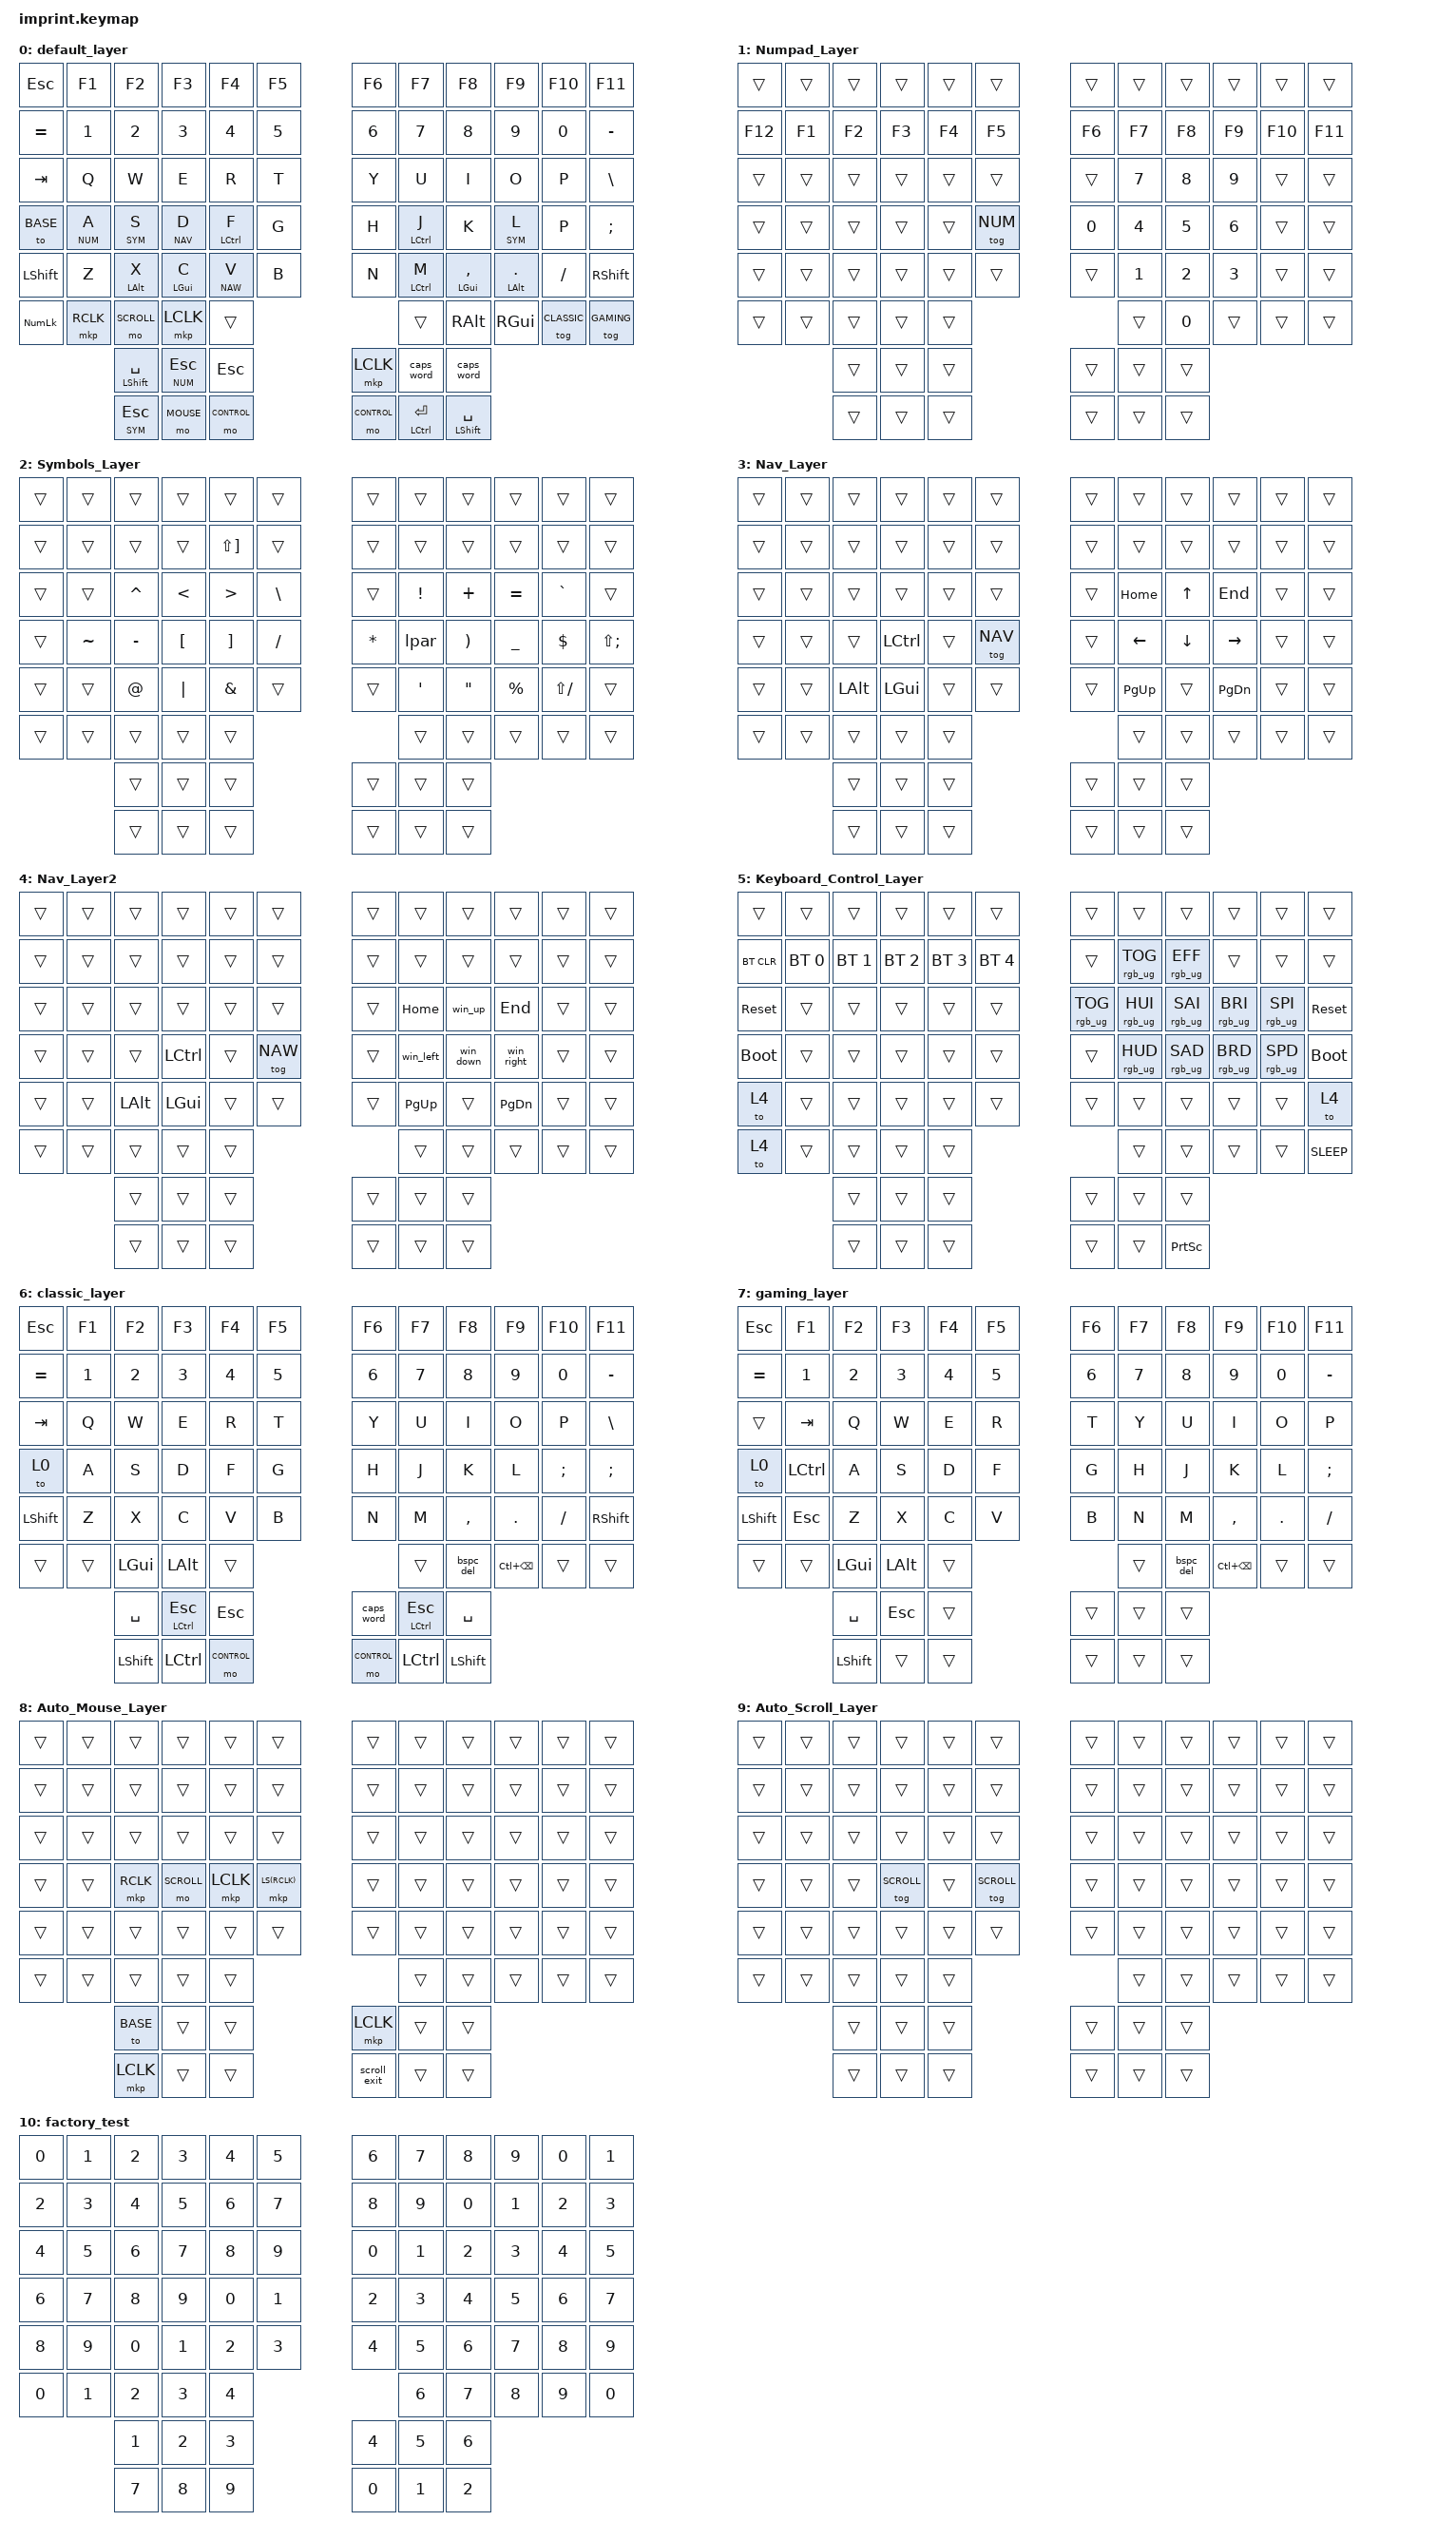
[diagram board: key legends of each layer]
#include <input/processors.dtsi>
#include <dt-bindings/zmk/input_transform.h>
#include <behaviors.dtsi>
#include <dt-bindings/zmk/bt.h>
#include <dt-bindings/zmk/keys.h>
#include <dt-bindings/zmk/pointing.h>
#include <dt-bindings/zmk/rgb.h>
#include <zephyr/dt-bindings/input/input-event-codes.h>

#define BASE 0
#define NUM 1
#define SYM 2
#define NAV 3
#define NAW 4
#define CONTROL 5
#define CLASSIC 6
#define GAMING 7
#define MOUSE 8
#define SCROLL 9


#define COMBO_TAP_TIME 30
#define COMBO_PRIOR_IDLE_TIME 120


/ {
    chosen { zmk,physical-layout = &physical_layout_imprint_function_row_full_bottom_row; };

    keymap {
        compatible = "zmk,keymap";

        default_layer {
            bindings = <
&kp ESC     &kp F1     &kp F2     &kp F3      &kp F4     &kp F5                  &kp F6     &kp F7     &kp F8         &kp F9       &kp F10       &kp F11
&kp EQUAL   &kp N1     &kp N2     &kp N3      &kp N4     &kp N5                  &kp N6     &kp N7     &kp N8         &kp N9       &kp N0        &kp MINUS
&kp TAB     &kp Q      &kp W      &kp E       &kp R      &kp T                   &kp Y      &kp U      &kp I          &kp O        &kp P         &kp BSLH
&to BASE    &lt NUM A  &lt SYM S  &lt NAV D   &mt LCTL F &kp G                   &kp H      &mt LCTL J &kp K          &lt SYM L    &kp P         &kp SEMI
&kp LSHFT   &kp Z      &mt LALT X &mt LGUI C  &lt NAW V  &kp B                   &kp N      &mt LCTL M &mt LGUI COMMA &mt LALT DOT &kp FSLH      &kp RSHFT
&kp KP_NLCK &mkp RCLK  &mo SCROLL &mkp LCLK   &trans                                        &trans     &kp RALT       &kp RGUI     &tog CLASSIC  &tog GAMING
                   &mt LSHFT SPACE  &lt NUM ESC    &kp ESC                 &mkp LCLK    &caps_word       &caps_word
                   &lth SYM ESC     &mo MOUSE      &mo CONTROL             &mo CONTROL  &mt LCTRL RET    &mt LSHFT SPACE
            >;
        };

        Numpad_Layer {
            bindings = <
&trans   &trans  &trans     &trans    &trans   &trans            &trans    &trans  &trans  &trans  &trans  &trans
&kp F12  &kp F1  &kp F2     &kp F3    &kp F4   &kp F5            &kp F6    &kp F7  &kp F8  &kp F9  &kp F10 &kp F11 
&trans   &trans  &trans     &trans    &trans   &trans            &trans    &kp N7  &kp N8  &kp N9  &trans  &trans  
&trans   &trans  &trans     &trans    &trans   &tog NUM          &kp N0    &kp N4  &kp N5  &kp N6  &trans  &trans
&trans   &trans  &trans     &trans    &trans   &trans            &trans    &kp N1  &kp N2  &kp N3  &trans  &trans
&trans   &trans  &trans     &trans  &trans                                 &trans  &kp N0  &trans  &trans  &trans
                            &trans  &trans  &trans              &trans  &trans     &trans
                            &trans  &trans  &trans              &trans  &trans     &trans
            >;
        };

        Symbols_Layer {
            bindings = <
&trans  &trans     &trans     &trans    &trans        &trans                &trans    &trans    &trans    &trans     &trans       &trans
&trans  &trans     &trans     &trans    &kp LS(RBKT)  &trans                &trans    &trans    &trans    &trans     &trans       &trans
&trans  &trans     &kp CARET  &kp LT    &kp GT        &kp BSLH              &trans    &kp EXCL  &kp PLUS  &kp EQUAL  &kp GRAVE    &trans
&trans  &kp TILDE  &kp MINUS  &kp LBKT  &kp RBKT      &kp SLASH             &kp STAR  &lpar     &kp RPAR  &kp UNDER  &kp DOLLAR   &kp LS(SEMI)
&trans  &trans     &kp AT     &kp PIPE  &kp AMPS      &trans                &trans    &kp SQT   &kp DQT   &kp PRCNT  &kp LS(FSLH) &trans
&trans  &trans     &trans     &trans    &trans                                        &trans    &trans    &trans     &trans       &trans
                              &trans    &trans  &trans                                &trans  &trans  &trans
                              &trans    &trans  &trans                                &trans  &trans  &trans        
            >;
        };

        Nav_Layer {
            bindings = <
&trans  &trans    &trans    &trans      &trans        &trans             &trans  &trans    &trans    &trans     &trans     &trans
&trans  &trans    &trans    &trans      &trans        &trans             &trans  &trans    &trans    &trans     &trans     &trans
&trans  &trans    &trans    &trans      &trans        &trans             &trans  &kp HOME  &kp UP    &kp END    &trans     &trans
&trans  &trans    &trans    &kp LCTL    &trans        &tog NAV           &trans  &kp LEFT  &kp DOWN  &kp RIGHT  &trans     &trans
&trans  &trans    &kp LALT  &kp LGUI    &trans        &trans             &trans  &kp PG_UP &trans    &kp PG_DN  &trans     &trans
&trans  &trans    &trans    &trans  &trans                                       &trans    &trans    &trans     &trans     &trans
                                &trans  &trans  &trans                      &trans  &trans    &trans
                                &trans  &trans  &trans                      &trans  &trans    &trans
            >;
        };

        Nav_Layer2 {
            bindings = <
&trans  &trans    &trans    &trans      &trans        &trans             &trans  &trans          &trans         &trans           &trans     &trans
&trans  &trans    &trans    &trans      &trans        &trans             &trans  &trans          &trans         &trans           &trans     &trans
&trans  &trans    &trans    &trans      &trans        &trans             &trans  &kp HOME        &win_up        &kp END          &trans     &trans
&trans  &trans    &trans    &kp LCTL    &trans        &tog NAW           &trans  &win_left       &win_down      &win_right       &trans     &trans
&trans  &trans    &kp LALT  &kp LGUI    &trans        &trans             &trans  &kp PG_UP       &trans         &kp PG_DN        &trans     &trans
&trans  &trans    &trans    &trans  &trans                                       &trans          &trans         &trans           &trans     &trans
                                &trans  &trans  &trans                      &trans  &trans    &trans
                                &trans  &trans  &trans                      &trans  &trans    &trans
            >;
        };


        Keyboard_Control_Layer {
            bindings = <
&trans       &trans        &trans        &trans        &trans        &trans                  &trans           &trans           &trans           &trans           &trans           &trans
&bt BT_CLR   &bt BT_SEL 0  &bt BT_SEL 1  &bt BT_SEL 2  &bt BT_SEL 3  &bt BT_SEL 4            &trans           &rgb_ug RGB_TOG  &rgb_ug RGB_EFF  &trans           &trans           &trans
&sys_reset   &trans        &trans        &trans        &trans        &trans                  &rgb_ug RGB_TOG  &rgb_ug RGB_HUI  &rgb_ug RGB_SAI  &rgb_ug RGB_BRI  &rgb_ug RGB_SPI  &sys_reset
&bootloader  &trans        &trans        &trans        &trans        &trans                  &trans           &rgb_ug RGB_HUD  &rgb_ug RGB_SAD  &rgb_ug RGB_BRD  &rgb_ug RGB_SPD  &bootloader
&to 4        &trans        &trans        &trans        &trans        &trans                  &trans  &trans           &trans           &trans           &trans           &to 4
&to 4        &trans        &trans        &trans        &trans                                        &trans           &trans           &trans           &trans           &kp K_SLEEP
                                                       &trans        &trans        &trans    &trans  &trans           &trans
                                                       &trans        &trans        &trans    &trans  &trans           &kp PRINTSCREEN
            >;
        };

        classic_layer {
            bindings = <
&kp ESC    &kp F1        &kp F2    &kp F3       &kp F4     &kp F5                  &kp F6     &kp F7    &kp F8     &kp F9    &kp F10         &kp F11
&kp EQUAL  &kp N1        &kp N2    &kp N3       &kp N4     &kp N5                  &kp N6     &kp N7    &kp N8     &kp N9    &kp N0          &kp MINUS
&kp TAB    &kp Q         &kp W     &kp E        &kp R      &kp T                   &kp Y      &kp U     &kp I      &kp O     &kp P           &kp BSLH
&to 0      &kp A         &kp S     &kp D        &kp F      &kp G                   &kp H      &kp J     &kp K      &kp L     &kp SEMI        &kp SEMI
&kp LSHFT  &kp Z         &kp X     &kp C        &kp V      &kp B                   &kp N      &kp M     &kp COMMA  &kp DOT   &kp FSLH        &kp RSHFT
&trans     &trans        &kp LGUI  &kp LALT  &trans                                           &trans    &bspc_del  &kp LC(BSPC)   &trans    &trans
                   &kp SPACE   &mt LCTRL ESC  &kp ESC                &caps_word   &mt LCTRL ESC  &kp SPACE
                   &kp LSHIFT  &kp LCTRL      &mo CONTROL            &mo CONTROL  &kp LCTRL      &kp LSHIFT 
            >;
        };

        gaming_layer {
            bindings = <
&kp ESC    &kp F1        &kp F2    &kp F3       &kp F4     &kp F5                  &kp F6     &kp F7    &kp F8     &kp F9     &kp F10        &kp F11
&kp EQUAL  &kp N1        &kp N2    &kp N3       &kp N4     &kp N5                  &kp N6     &kp N7    &kp N8     &kp N9     &kp N0         &kp MINUS
&trans     &kp TAB       &kp Q     &kp W        &kp E      &kp R                   &kp T      &kp Y     &kp U      &kp I      &kp O          &kp P
&to 0      &kp LCTRL     &kp A     &kp S        &kp D      &kp F                   &kp G      &kp H      &kp J     &kp K      &kp L          &kp SEMI        
&kp LSHFT  &kp ESC       &kp Z     &kp X        &kp C      &kp V                   &kp B      &kp N      &kp M     &kp COMMA  &kp DOT        &kp FSLH  
&trans     &trans        &kp LGUI  &kp LALT  &trans                                           &trans    &bspc_del  &kp LC(BSPC)   &trans    &trans
                                      &kp SPACE   &kp ESC  &trans                       &trans  &trans  &trans
                                      &kp LSHIFT  &trans   &trans                       &trans  &trans  &trans
            >;
        };
        
        Auto_Mouse_Layer {
            bindings = <
&trans  &trans  &trans     &trans       &trans     &trans            &trans  &trans  &trans  &trans  &trans  &trans
&trans  &trans  &trans     &trans       &trans     &trans            &trans  &trans  &trans  &trans  &trans  &trans
&trans  &trans  &trans     &trans       &trans     &trans            &trans  &trans  &trans  &trans  &trans  &trans
&trans  &trans  &mkp RCLK  &mo SCROLL   &mkp LCLK  &mkp LS(RCLK)     &trans  &trans  &trans  &trans  &trans  &trans
&trans  &trans  &trans     &trans       &trans     &trans            &trans  &trans  &trans  &trans  &trans  &trans
&trans  &trans  &trans     &trans       &trans                               &trans  &trans  &trans  &trans  &trans
                                        &to BASE  &trans  &trans    &mkp LCLK    &trans  &trans
                                        &mkp LCLK &trans  &trans    &scroll_exit &trans  &trans
            >;
        };

        Auto_Scroll_Layer {
            bindings = <
&trans  &trans  &trans     &trans     &trans     &trans            &trans  &trans  &trans  &trans  &trans  &trans
&trans  &trans  &trans     &trans     &trans     &trans            &trans  &trans  &trans  &trans  &trans  &trans
&trans  &trans  &trans     &trans     &trans     &trans            &trans  &trans  &trans  &trans  &trans  &trans
&trans  &trans  &trans     &tog SCROLL &trans    &tog SCROLL            &trans  &trans  &trans  &trans  &trans  &trans
&trans  &trans  &trans     &trans     &trans     &trans            &trans  &trans  &trans  &trans  &trans  &trans
&trans  &trans  &trans     &trans     &trans                               &trans  &trans  &trans  &trans  &trans
                                      &trans     &trans  &trans    &trans  &trans  &trans
                                      &trans     &trans  &trans    &trans  &trans  &trans
            >;
        };

        factory_test {
            bindings = <
&kp N0  &kp N1  &kp N2  &kp N3  &kp N4  &kp N5            &kp N6  &kp N7  &kp N8  &kp N9  &kp N0  &kp N1
&kp N2  &kp N3  &kp N4  &kp N5  &kp N6  &kp N7            &kp N8  &kp N9  &kp N0  &kp N1  &kp N2  &kp N3
&kp N4  &kp N5  &kp N6  &kp N7  &kp N8  &kp N9            &kp N0  &kp N1  &kp N2  &kp N3  &kp N4  &kp N5
&kp N6  &kp N7  &kp N8  &kp N9  &kp N0  &kp N1            &kp N2  &kp N3  &kp N4  &kp N5  &kp N6  &kp N7
&kp N8  &kp N9  &kp N0  &kp N1  &kp N2  &kp N3            &kp N4  &kp N5  &kp N6  &kp N7  &kp N8  &kp N9
&kp N0  &kp N1  &kp N2  &kp N3  &kp N4                            &kp N6  &kp N7  &kp N8  &kp N9  &kp N0
                                &kp N1  &kp N2  &kp N3    &kp N4  &kp N5  &kp N6
                                &kp N7  &kp N8  &kp N9    &kp N0  &kp N1  &kp N2
            >;
        };
    };
};

/ {
    behaviors {
        bspc_del: backspace_delete {
            compatible = "zmk,behavior-mod-morph";
            #binding-cells = <0>;
            bindings = <&kp BSPC>, <&kp DELETE>;
            mods = <(MOD_LSFT|MOD_RSFT)>;
        };

        bspc_k: backspace_k {
            compatible = "zmk,behavior-mod-morph";
            #binding-cells = <0>;
            bindings = <&mt LCTL K>, <&bspc_del>;
            mods = <(MOD_LCTL|MOD_RCTL)>;
        };

        bspc_l: backspace_l {
            compatible = "zmk,behavior-mod-morph";
            #binding-cells = <0>;
            bindings = <&lt SYM L>, <&kp LC(BSPC)>;
            mods = <(MOD_LCTL|MOD_RCTL)>;
        };

        tab_i: tab_i {
            compatible = "zmk,behavior-mod-morph";
            #binding-cells = <0>;
            bindings = <&kp I>, <&kp TAB>;
            mods = <(MOD_LCTL|MOD_RCTL)>;
        };

        ent_o: enter_o {
            compatible = "zmk,behavior-mod-morph";
            #binding-cells = <0>;
            bindings = <&kp O>, <&kp RET>;
            mods = <(MOD_LCTL|MOD_RCTL)>;
        };
            
        lt: layer_tap {
            compatible = "zmk,behavior-hold-tap";
            #binding-cells = <2>;
            flavor = "balanced";
            tapping-term-ms = <200>;
            bindings = <&mo>, <&kp>;
            display-name = "Mod-Tap";
            require-prior-idle-ms = <80>;
        };

        lth: layer_tap_hold_prefered {
            compatible = "zmk,behavior-hold-tap";
            #binding-cells = <2>;
            flavor = "hold-preferred";
            tapping-term-ms = <200>;
            bindings = <&mo>, <&kp>;
            display-name = "Mod-Tap";
        };

        llt: lefthand_layer_tap {
            compatible = "zmk,behavior-hold-tap";
            #binding-cells = <2>;
            flavor = "hold-preferred";
            tapping-term-ms = <200>;
            bindings = <&mo>, <&kp>;
            display-name = "Mod-Tap";
            require-prior-idle-ms = <150>;
            hold-trigger-key-positions = <31 32 33 43 44 45 55 56 57 66>; 
        };

        mt: mod_tap {
            compatible = "zmk,behavior-hold-tap";
            #binding-cells = <2>;
            flavor = "balanced";
            tapping-term-ms = <200>;
            bindings = <&kp>, <&kp>;
            display-name = "Mod-Tap";
            require-prior-idle-ms = <80>;
        };
        
        ltt: layer_tap_toggle {
            compatible = "zmk,behavior-hold-tap";
            //label = "LAYER_TAP_TOGGLE";
            #binding-cells = <2>;
            bindings = <&mo>, <&tog>;
            tapping-term-ms = <200>;
        };

        rl: retro_layer {
            compatible = "zmk,behavior-hold-tap";
            flavor = "tap-preferred";
            retro-tap;
            #binding-cells = <2>;
            bindings = <&mo>, <&kp>;
            tapping-term-ms = <200>;
        };
        
        tog_off: toggle_layer_off_only {
            compatible = "zmk,behavior-toggle-layer";
            #binding-cells = <1>;
            display-name = "Toggle Layer Off";
            toggle-mode = "off";
        };
    };

    combos {
        compatible = "zmk,combos";
        combo_tab {
            timeout-ms = <COMBO_TAP_TIME>;
            require-prior-idle-ms = <COMBO_PRIOR_IDLE_TIME>;
            key-positions = <43 44>;
            bindings = <&kp TAB>;
        };
        combo_enter {
            timeout-ms = <COMBO_TAP_TIME>;
            require-prior-idle-ms = <COMBO_PRIOR_IDLE_TIME>;
            key-positions = <44 45>;
            bindings = <&kp RET>;
            layers = <BASE>;
        };
        combo_sym_enter {
            timeout-ms = <COMBO_TAP_TIME>;
            require-prior-idle-ms = <COMBO_PRIOR_IDLE_TIME>;
            key-positions = <44 45>;
            bindings = <&kp LS(RET)>;
            layers = <SYM>;
        };
        combo_num_enter {
            timeout-ms = <COMBO_TAP_TIME>;
            require-prior-idle-ms = <COMBO_PRIOR_IDLE_TIME>;
            key-positions = <44 45>;
            bindings = <&exit_num>;
            layers = <NUM>;
        };
       combo_ctrl_back {
            timeout-ms = <COMBO_TAP_TIME>;
            require-prior-idle-ms = <COMBO_PRIOR_IDLE_TIME>;
            require-prior-idle-ms = <COMBO_PRIOR_IDLE_TIME>;
            key-positions = <32 33>;
            bindings = <&kp LC(BSPC)>;
        }; 
        combo_back {
            timeout-ms = <COMBO_TAP_TIME>;
            require-prior-idle-ms = <COMBO_PRIOR_IDLE_TIME>;
            require-prior-idle-ms = <COMBO_PRIOR_IDLE_TIME>;
            key-positions = <31 32>;
            bindings = <&bspc_del>;
        };
        combo_undo {
            timeout-ms = <COMBO_TAP_TIME>;
            require-prior-idle-ms = <COMBO_PRIOR_IDLE_TIME>;
            key-positions = <26 27>;
            bindings = <&kp LC(Z)>;
        };
        combo_redo {
            timeout-ms = <COMBO_TAP_TIME>;
            require-prior-idle-ms = <COMBO_PRIOR_IDLE_TIME>;
            key-positions = <27 28>;
            bindings = <&kp LC(Y)>;
        };
        //combo_save {
            //timeout-ms = <COMBO_TAP_TIME>;
            //require-prior-idle-ms = <COMBO_PRIOR_IDLE_TIME>;
            //key-positions = <26 28>;
            //bindings = <&kp LC(S)>;
        //};
        combo_num_layer {
            timeout-ms = <COMBO_TAP_TIME>;
            require-prior-idle-ms = <COMBO_PRIOR_IDLE_TIME>;
            key-positions = <56 57>;
            bindings = <&to NUM>;
            layers = <BASE NUM>;
        };
        //combo_nav_layer {
            //timeout-ms = <COMBO_TAP_TIME>;
            //require-prior-idle-ms = <COMBO_PRIOR_IDLE_TIME>;
            //key-positions = <50 51>;
            //bindings = <&tog NAV>;
            //layers = <BASE>;
        //};
        combo_scroll_layer {
            timeout-ms = <COMBO_TAP_TIME>;
            require-prior-idle-ms = <COMBO_PRIOR_IDLE_TIME>;
            key-positions = <51 52>;
            bindings = <&tog SCROLL>;
            layers = <BASE MOUSE SCROLL>;
        };
        combo_paste {
            timeout-ms = <COMBO_TAP_TIME>;
            key-positions = <39 40>;
            bindings = <&kp LC(V)>;
        };
        combo_copy {
            timeout-ms = <COMBO_TAP_TIME>;
            key-positions = <38 39>;
            bindings = <&kp LC(C)>;
        };
        combo_cut {
            timeout-ms = <COMBO_TAP_TIME>;
            key-positions = <38 40>;
            bindings = <&kp LC(X)>;
        };
    };

    macros {
        lpar: left_par {
            compatible = "zmk,behavior-macro";
            #binding-cells = <0>;
            bindings = <&macro_tap &kp LPAR>;
        };

        exit_num: exit_num {
            compatible = "zmk,behavior-macro";
            #binding-cells = <0>;
            bindings = <&macro_tap &kp RET>
                     , <&tog NUM>;
        };
        mlc_exit: mlc_exit {
            compatible = "zmk,behavior-macro";
            #binding-cells = <0>;
            bindings = <&macro_press &mkp LCLK &tog MOUSE>
                     , <&macro_pause_for_release>
                     , <&macro_release &mkp LCLK &tog MOUSE>;
        };
        dmlc_exit: dmlc_exit {
            compatible = "zmk,behavior-macro";
            #binding-cells = <0>;
            bindings = <&macro_tap &mkp LCLK &mkp LCLK &tog MOUSE>;
        };
        mrc_exit: mrc_exit {
            compatible = "zmk,behavior-macro";
            #binding-cells = <0>;
            bindings = <&macro_press &mkp RCLK &tog MOUSE>
                     , <&macro_pause_for_release>
                     , <&macro_release &mkp RCLK &tog MOUSE>;
        };
        mmc_exit: mmc_exit {
            compatible = "zmk,behavior-macro";
            #binding-cells = <0>;
            bindings = <&macro_press &mkp MCLK &tog MOUSE>
                     , <&macro_pause_for_release>
                     , <&macro_release &mkp MCLK &tog MOUSE>;
        };
        scroll_exit: scroll_exit {
            compatible = "zmk,behavior-macro";
            #binding-cells = <0>;
            bindings = <&macro_press &mo SCROLL>
                     , <&macro_pause_for_release>
                     , <&macro_release &mo SCROLL>
                     , <&macro_tap &tog MOUSE>;
        };
        win_left: win_left {
            compatible = "zmk,behavior-macro";
            #binding-cells = <0>;
            bindings = <&macro_press &kp LGUI>
                     , <&macro_pause_for_release>
                     , <&macro_tap &kp LEFT>
                     , <&macro_release &kp LGUI>;
        };
        win_right: win_right {
            compatible = "zmk,behavior-macro";
            #binding-cells = <0>;
            bindings = <&macro_press &kp LGUI>
                     , <&macro_pause_for_release>
                     , <&macro_tap &kp RIGHT>
                     , <&macro_release &kp LGUI>;
        };
        win_up: win_up {
            compatible = "zmk,behavior-macro";
            #binding-cells = <0>;
            bindings = <&macro_press &kp LGUI>
                     , <&macro_pause_for_release>
                     , <&macro_tap &kp UP>
                     , <&macro_release &kp LGUI>;
        };
        win_down: win_down {
            compatible = "zmk,behavior-macro";
            #binding-cells = <0>;
            bindings = <&macro_press &kp LGUI>
                     , <&macro_pause_for_release>
                     , <&macro_tap &kp DOWN>
                     , <&macro_release &kp LGUI>;
        };
        vim_word: vim_next_word {
            compatible = "zmk,behavior-macro";
            #binding-cells = <0>;
            
            bindings =  <&macro_tap_time 0>,
                        <&macro_tap &kp LC(RIGHT) &kp LC(RIGHT) &kp LC(LEFT)>;
        };
        vim_back: vim_back_word {
            compatible = "zmk,behavior-macro";
            #binding-cells = <0>;
            bindings = <&macro_tap &kp LC(LEFT)>;
        };
        vim_copy_word: vim_copy_word {
            compatible = "zmk,behavior-macro";
            #binding-cells = <0>;
            bindings = <&macro_tap &kp LC(RIGHT) &kp LC(LS(LEFT)) &kp LC(C)>;
        };
        vim_cut_word: vim_cut_word {
            compatible = "zmk,behavior-macro";
            #binding-cells = <0>;
            bindings = <&macro_tap &kp LC(RIGHT) &kp LC(LS(LEFT)) &kp LC(X)>;
        };
    };

    input_processors {
        zip_toggle_mouse_layer: zip_toggle_mouse_layer {
            compatible = "zmk,input-processor-behaviors";
            #input-processor-cells = <0>;
            codes    = <INPUT_EV_REL>;
            bindings = <&tog MOUSE>;
        };
    };   
    zip_temp_layer: zip_temp_layer {
        compatible = "zmk,input-processor-temp-layer";
        #input-processor-cells = <2>;
        excluded-positions = <38 39 40 41 70 73>;
    };

};


// right hand trackball configuration

&trackball_peripheral_listener {
    //input-processors =
        // activate layer MOUSE within 5000ms of the trackball moving
        //<&zip_temp_layer MOUSE 9000>;
    scroller {
        layers = <SCROLL>;
        input-processors =
        // multiply sensitivity by 1, divide by 3 (make it slower for scrolling),
        <&zip_xy_scaler 1 5>,
        // make this trackball output scrolling events by default instead of cursor movement,
        <&zip_xy_to_scroll_mapper>,
        // invert vertical scrolling so that the view moves in the same direction as the top of the trackball.,
        <&zip_scroll_transform INPUT_TRANSFORM_Y_INVERT>;    
    };
 };
